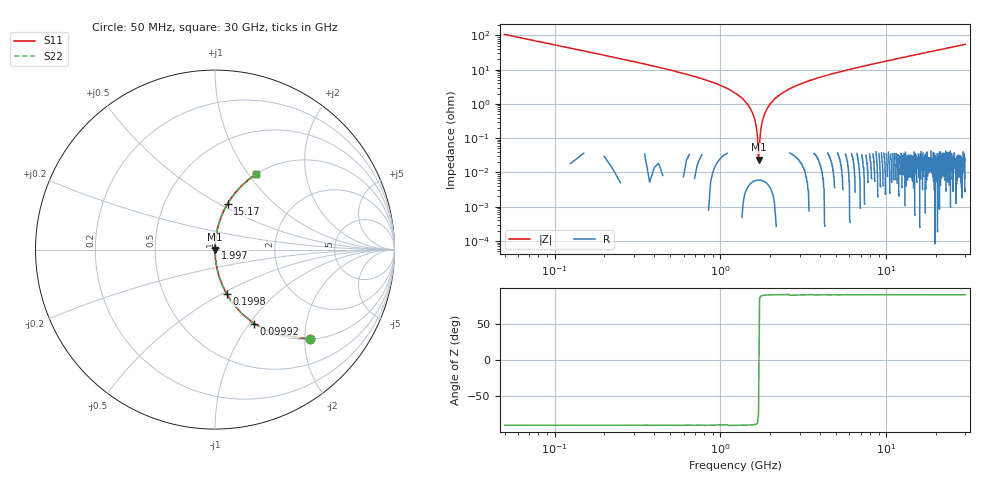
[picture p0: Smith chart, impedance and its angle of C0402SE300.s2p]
!	AVX Thin Film Operation 	Date: April 2014
!	Description: Accu-P® Series, Thin Film  SMD RF Capacitor
!	Part Number: 04023K300FBSTR
# MHZ S MA R 50
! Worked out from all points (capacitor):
!   1201 points, 50 MHz to 30 GHz, reference 50 ohm
!   read as one part in series: C = 30 pF near 199.8 MHz
!   lowest |Z| = 23.4 mohm at 1.697 GHz (marker M1)
!   series resonance near 1.703 GHz, so ESL is about 290 pH
!   S11 on the Smith chart (normalised r, x): 50 MHz: 1.00, -2.12; 99.92 MHz: 1.00, -1.06; 199.8 MHz: 1.00, -0.52; 1.997 GHz: 1.00, +0.02; 15.17 GHz: 1.00, +0.55; 30 GHz: 1.00, +1.09
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50  0.727 -43.3  0.686 46.7  0.686 46.7  0.727 -43.3
99.917  0.468 -62.1  0.884 27.9  0.884 27.9  0.468 -62.1
199.75  0.253 -75.3  0.967 14.7  0.967 14.7  0.253 -75.3
299.583  0.169 -80.2  0.985 9.7  0.985 9.7  0.169 -80.2
474.292  0.103 -84.0  0.995 5.9  0.995 5.9  0.103 -84.0
1322.875  0.016 -88.7  1 0.9  1 0.9  0.016 -88.7
1472.625  0.009099 -88.7  1 0.5  1 0.5  0.009099 -88.7
1597.417  0.004005 -88.1  1 0.2  1 0.2  0.004005 -88.1
1697.25  0.0002548 -61.9  1 0.0  1 0.0  0.0002548 -61.9
1822.042  0.004199 88.1  1 -0.2  1 -0.2  0.004199 88.1
1896.917  0.006716 88.6  1 -0.4  1 -0.4  0.006716 88.6
1996.75  0.009939 88.7  1 -0.6  1 -0.6  0.009939 88.7
2346.167  0.02 88.5  1 -1.2  1 -1.2  0.02 88.5
2895.25  0.035 87.8  0.999 -2.0  0.999 -2.0  0.035 87.8
3793.75  0.055 86.7  0.998 -3.2  0.998 -3.2  0.055 86.7
5041.667  0.081 85.2  0.997 -4.7  0.997 -4.7  0.081 85.2
10058.29  0.176 79.8  0.984 -10.1  0.984 -10.1  0.176 79.8
15025  0.262 74.8  0.965 -15.2  0.965 -15.2  0.262 74.8
15174.75  0.264 74.7  0.964 -15.3  0.964 -15.3  0.264 74.7
20016.67  0.341 70.0  0.94 -20.0  0.94 -20.0  0.341 70.0
25033.29  0.415 65.5  0.91 -24.5  0.91 -24.5  0.415 65.5
30000  0.48 61.3  0.877 -28.7  0.877 -28.7  0.48 61.3
